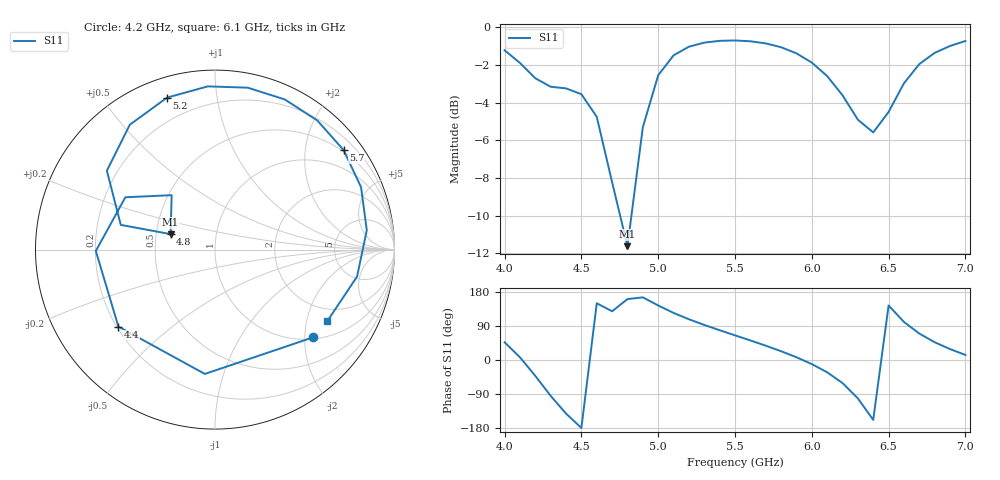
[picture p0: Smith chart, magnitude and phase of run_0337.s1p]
! Touchstone file exported from HFSS 2024.2.0
!  File:  C:/Users/wsak9/Desktop/Sim Fast/Widenad Patch/WP_AI_V1_sweep.aedt
!  Generated:  05:17:23 AM Oct 14, 2026
!  Design:  A1_model
!  Project:  WP_AI_V1_sweep
!  Setup:  Setup1
!  Solution:  Sweep
! Variables:
!  Air_gap = 4.25mm
!  Curve_Amp1 = 3.13
!  Curve_len1 = 1
!  Curve_pos = 11.975mm
!  Extra = 0.95mm
!  H_sub = 0.79mm
!  L_Patch = 19.95mm
!  L_Patch1 = 14.78mm
!  Sx = 4.25mm
!  Sy = 4.88mm
!  WS = 0.56mm
!  W_Patch = 22.27mm
!  W_Patch1 = 13.83mm
!Data is not renormalized
# GHz S MA
! Terminal data exported
! Port[1] = 1
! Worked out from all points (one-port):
!   31 points, 4 GHz to 7 GHz, reference per port
!   lowest |S11| = -11.6 dB at 4.8 GHz (marker M1), VSWR 1.71
!   |S11| at or under -10 dB: 4.752 GHz to 4.826 GHz (73.72 MHz wide, 1.54 % of centre)
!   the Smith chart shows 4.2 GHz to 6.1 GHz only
!   S11 on the Smith chart (normalised r, x): 4.2 GHz: 1.04, -2.19; 4.4 GHz: 0.21, -0.34; 4.8 GHz: 0.60, +0.11; 5.2 GHz: 0.09, +0.73; 5.7 GHz: 0.46, +2.85; 6.1 GHz: 1.51, -2.67
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4  0.869 46.7
4.1  0.804 7.1
4.2  0.7321 -42.0
4.3  0.695 -94.7
4.4  0.6882 -141.5
4.5  0.6641 -179.3
4.6  0.5784 149.7
4.7  0.3875 128.5
4.8  0.2622 160.8
4.9  0.5426 165.3
5  0.7457 143.9
5.1  0.8422 124.3
5.2  0.888 107.5
5.3  0.9103 92.5
5.5  0.9225 65.1
5.7  0.906 37.8
5.9  0.8526 7.3
6  0.8057 -10.7
6.1  0.7419 -32.4
6.2  0.6596 -60.8
6.3  0.5682 -101.4
6.4  0.5256 -158.0
6.5  0.5958 143.9
6.6  0.71 100.4
6.7  0.7984 69.8
6.8  0.8551 46.9
6.9  0.8919 28.8
7  0.9196 13.4
